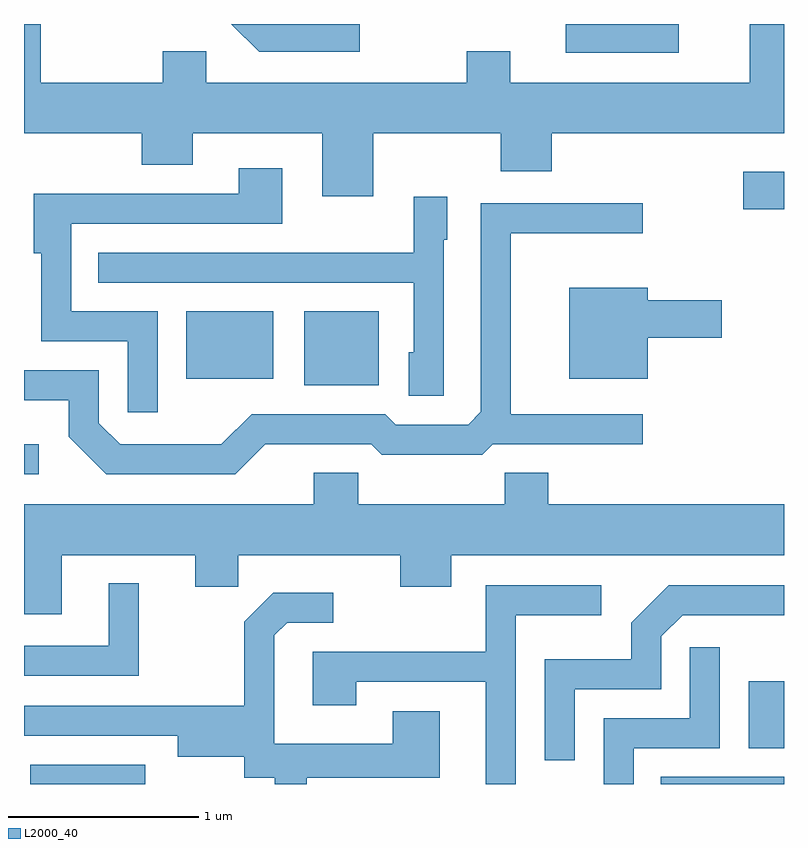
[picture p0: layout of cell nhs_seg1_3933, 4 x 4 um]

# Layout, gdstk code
import gdstk
lib = gdstk.Library(unit=1e-6, precision=1e-09)
def R(c, l, rs):  # rectangles x0, y0, x1, y1
    for r in rs: c.add(gdstk.rectangle(r[:2], r[2:], *l))
def P(c, l, *ps):  # polygons
    for p in ps: c.add(gdstk.Polygon(p, *l))
L2000_40 = (2000, 40)

nhs_seg1_3933 = lib.new_cell('nhs_seg1_3933')
R(nhs_seg1_3933, L2000_40, [(303.643,891.712,304.249,891.814), (306.963,891.712,307.611,891.749), (307.426,891.901,307.611,892.254), (303.611,893.341,303.688,893.499), (305.086,893.811,305.479,894.199), (304.466,893.846,304.924,894.199), (307.396,894.736,307.611,894.934), (306.461,895.561,307.058,895.712)])
P(nhs_seg1_3933, L2000_40, [(305.378,895.712),(304.703,895.712),(304.849,895.566),(305.378,895.566)],
  [(305.449,895.136),(306.121,895.136),(306.121,894.936),(306.389,894.936),(306.389,895.136),(307.611,895.136),(307.611,895.712),(307.431,895.712),(307.431,895.404),(306.169,895.404),(306.169,895.569),(305.941,895.569),(305.941,895.404),(304.569,895.404),(304.569,895.569),(304.341,895.569),(304.341,895.404),(303.699,895.404),(303.699,895.712),(303.611,895.712),(303.611,895.136),(304.231,895.136),(304.231,894.971),(304.499,894.971),(304.499,895.136),(305.181,895.136),(305.181,894.806),(305.449,894.806)],
  [(304.314,894.199),(303.859,894.199),(303.859,894.661),(304.969,894.661),(304.969,894.954),(304.741,894.954),(304.741,894.819),(303.661,894.819),(303.661,894.506),(303.701,894.506),(303.701,894.041),(304.156,894.041),(304.156,893.668),(304.314,893.668)],
  [(305.819,894.576),(305.839,894.576),(305.839,894.804),(305.661,894.804),(305.661,894.509),(304.003,894.509),(304.003,894.351),(305.661,894.351),(305.661,893.984),(305.636,893.984),(305.636,893.756),(305.819,893.756)],
  [(304.882,893.501),(305.439,893.501),(305.494,893.446),(306.022,893.446),(306.077,893.501),(306.868,893.501),(306.868,893.659),(306.174,893.659),(306.174,894.611),(306.868,894.611),(306.868,894.769),(306.016,894.769),(306.016,893.672),(305.949,893.604),(305.567,893.604),(305.512,893.659),(304.809,893.659),(304.649,893.499),(304.117,893.499),(304.004,893.612),(304.004,893.889),(303.611,893.889),(303.611,893.731),(303.846,893.731),(303.846,893.539),(304.044,893.341),(304.722,893.341)],
  [(306.894,894.061),(307.284,894.061),(307.284,894.259),(306.894,894.259),(306.894,894.324),(306.481,894.324),(306.481,893.846),(306.894,893.846)],
  [(303.809,892.916),(304.511,892.916),(304.511,892.751),(304.739,892.751),(304.739,892.916),(305.591,892.916),(305.591,892.751),(305.859,892.751),(305.859,892.916),(307.611,892.916),(307.611,893.184),(306.369,893.184),(306.369,893.349),(306.141,893.349),(306.141,893.184),(305.369,893.184),(305.369,893.349),(305.136,893.349),(305.136,893.184),(303.611,893.184),(303.611,892.606),(303.809,892.606)],
  [(304.214,892.768),(304.056,892.768),(304.056,892.439),(303.611,892.439),(303.611,892.281),(304.214,892.281)],
  [(306.199,892.601),(306.648,892.601),(306.648,892.759),(306.041,892.759),(306.041,892.409),(305.131,892.409),(305.131,892.126),(305.359,892.126),(305.359,892.251),(306.041,892.251),(306.041,891.712),(306.199,891.712)],
  [(306.509,892.211),(306.964,892.211),(306.964,892.489),(307.077,892.601),(307.609,892.601),(307.611,892.599),(307.611,892.759),(307.004,892.759),(306.806,892.562),(306.806,892.369),(306.351,892.369),(306.351,891.838),(306.509,891.838)],
  [(305.099,891.746),(305.799,891.746),(305.799,892.094),(305.551,892.094),(305.551,891.924),(304.929,891.924),(304.929,892.494),(304.997,892.561),(305.238,892.561),(305.238,892.719),(304.924,892.719),(304.771,892.567),(304.771,892.124),(303.611,892.124),(303.611,891.966),(304.421,891.966),(304.421,891.856),(304.771,891.856),(304.771,891.746),(304.931,891.746),(304.931,891.712),(305.099,891.712)],
  [(306.819,891.901),(307.274,891.901),(307.274,892.433),(307.116,892.433),(307.116,892.059),(306.661,892.059),(306.661,891.712),(306.819,891.712)])

lib.write_gds('nhs_seg1_3933.gds')
